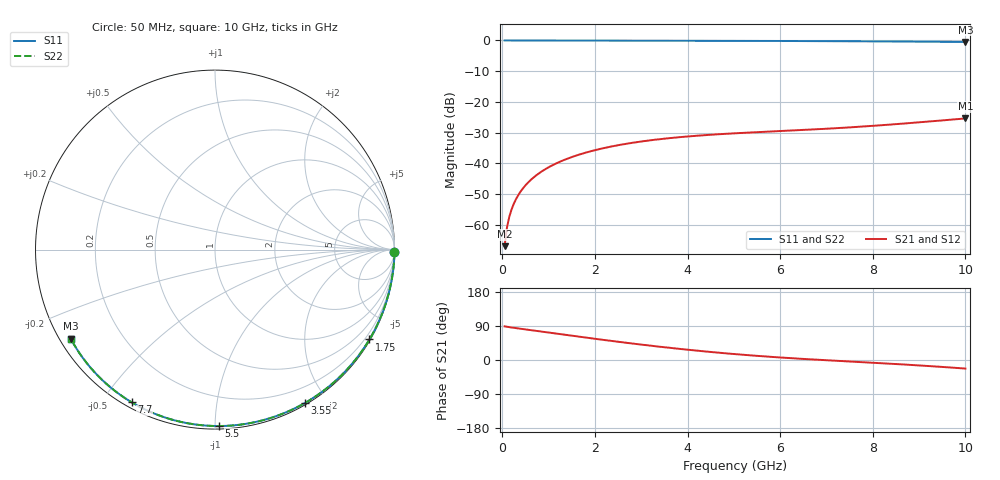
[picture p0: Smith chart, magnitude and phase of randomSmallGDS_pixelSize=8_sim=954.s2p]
! freq	dB(S11)	phase(S11)	dB(S12)	phase(S12)
!  dB(S21)	phase(S21)	dB(S22)	phase(S22)
!S-par simulation data
#  GHz  S  DB  R 50
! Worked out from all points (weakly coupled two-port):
!   200 points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, 50 MHz to 10 GHz, reference 50 ohm
!   highest |S21| = -25.36 dB at 10 GHz (marker M1); lowest = -66.9 dB at 50 MHz (marker M2)
!   lowest |S11| = -0.5 dB at 10 GHz (marker M3), VSWR 35.10, Z = 1.54 - j14.2 ohm
!   |S11| at or under -10 dB: nowhere
!   |S22| runs from -0.5 to 0.0 dB; largest |S21 - S12| = 0
!   S11 on the Smith chart (normalised r, x): 50 MHz: open; 1.75 GHz: 0.03, -3.71; 3.55 GHz: 0.02, -1.75; 5.5 GHz: 0.02, -1.02; 7.7 GHz: 0.02, -0.59; 10 GHz: 0.03, -0.28
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0.05  -0.00 -0.9  -66.89 88.8  -66.89 88.8  -0.00 -0.9
0.1  -0.00 -1.8  -60.89 87.7  -60.89 87.7  -0.00 -1.8
0.15  -0.00 -2.6  -57.41 86.7  -57.41 86.7  -0.00 -2.6
0.2  -0.00 -3.5  -54.94 85.7  -54.94 85.7  -0.00 -3.5
0.25  -0.00 -4.4  -53.04 84.9  -53.04 84.9  -0.00 -4.4
0.35  -0.00 -6.1  -50.16 83.2  -50.16 83.2  -0.00 -6.1
0.5  -0.01 -8.8  -47.11 80.7  -47.11 80.7  -0.01 -8.8
0.7  -0.01 -12.2  -44.24 77.4  -44.24 77.4  -0.01 -12.2
1  -0.02 -17.4  -41.24 72.4  -41.24 72.4  -0.02 -17.4
1.35  -0.03 -23.4  -38.76 66.5  -38.76 66.5  -0.03 -23.4
1.75  -0.04 -30.2  -36.70 60.0  -36.70 60.0  -0.04 -30.2
2.5  -0.06 -42.7  -34.06 48.1  -34.06 48.1  -0.06 -42.7
3.4  -0.08 -57.2  -32.10 35.0  -32.10 35.0  -0.08 -57.2
3.55  -0.08 -59.5  -31.85 33.0  -31.85 33.0  -0.08 -59.5
4.3  -0.10 -71.1  -30.87 23.5  -30.87 23.5  -0.10 -71.1
5.05  -0.13 -82.2  -30.16 15.3  -30.16 15.3  -0.13 -82.2
5.5  -0.15 -88.7  -29.82 10.9  -29.82 10.9  -0.15 -88.7
6.7  -0.21 -105.4  -28.95 1.4  -28.95 1.4  -0.21 -105.3
7.7  -0.27 -118.7  -28.07 -5.2  -28.07 -5.2  -0.27 -118.6
8.35  -0.32 -127.1  -27.38 -9.6  -27.38 -9.6  -0.32 -127.1
9.2  -0.40 -138.1  -26.37 -15.9  -26.37 -15.9  -0.40 -138.0
10  -0.50 -148.3  -25.36 -22.6  -25.36 -22.6  -0.49 -148.3
